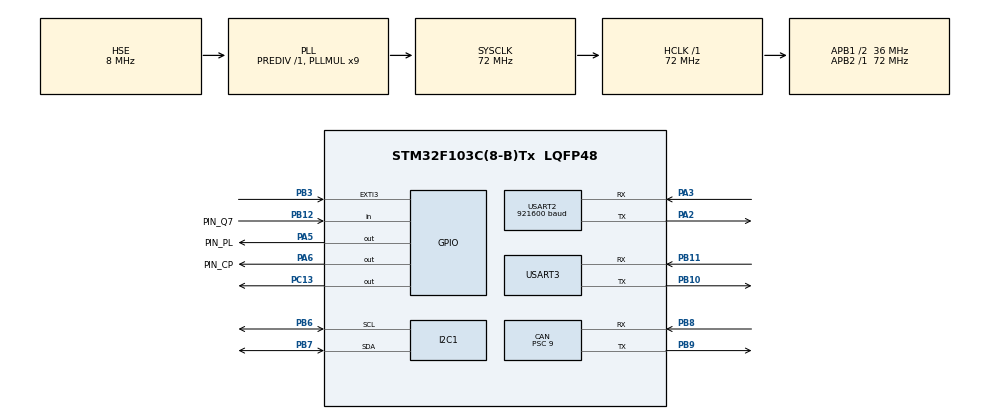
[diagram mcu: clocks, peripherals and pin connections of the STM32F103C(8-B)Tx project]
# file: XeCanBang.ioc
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CAN.ABOM=ENABLE
CAN.AWUM=ENABLE
CAN.BS1=CAN_BS1_2TQ
CAN.CalculateBaudRate=1000000
CAN.CalculateTimeBit=1000
CAN.CalculateTimeQuantum=250.0
CAN.Prescaler=9
FREERTOS.Tasks01=defaultTask,24,128,StartDefaultTask,Default,NULL,Dynamic,NULL,NULL;ReceiveUART,24,128,StartTask02,Default,NULL,Dynamic,NULL,NULL;SendCAN,24,128,StartTask03,Default,NULL,Dynamic,NULL,NULL;ReadMPU6050,24,128,StartTask04,Default,NULL,Dynamic,NULL,NULL
I2C1.I2C_Mode=I2C_Fast
Mcu.Family=STM32F1
Mcu.Name=STM32F103C(8-B)Tx
Mcu.Package=LQFP48
NVIC.PriorityGroup=NVIC_PRIORITYGROUP_4
NVIC.TIM2_IRQn=true\:5\:0\:false\:false\:true\:true\:true\:true\:true
NVIC.USART2_IRQn=true\:5\:0\:false\:false\:true\:true\:true\:true\:true
PA13.Mode=Serial_Wire
PA13.Signal=SYS_JTMS-SWDIO
PA14.Mode=Serial_Wire
PA14.Signal=SYS_JTCK-SWCLK
PA2.Mode=Asynchronous
PA2.Signal=USART2_TX
PA3.GPIO_PuPd=GPIO_PULLUP
PA3.Mode=Asynchronous
PA3.Signal=USART2_RX
PA5.GPIO_Label=PIN_PL
PA5.GPIO_Speed=GPIO_SPEED_FREQ_HIGH
PA5.Signal=GPIO_Output
PA6.GPIO_Label=PIN_CP 
PA6.GPIO_Speed=GPIO_SPEED_FREQ_HIGH
PA6.Signal=GPIO_Output
PB10.Mode=Asynchronous
PB10.Signal=USART3_TX
PB11.Mode=Asynchronous
PB11.Signal=USART3_RX
PB12.GPIO_Label=PIN_Q7
PB12.GPIO_PuPd=GPIO_PULLUP
PB12.Signal=GPIO_Input
PB3.Signal=GPXTI3
PB6.Mode=I2C
PB6.Signal=I2C1_SCL
PB7.Mode=I2C
PB7.Signal=I2C1_SDA
PB8.Mode=CAN_Activate
PB8.Signal=CAN_RX
PB9.Mode=CAN_Activate
PB9.Signal=CAN_TX
PC13-TAMPER-RTC.Signal=GPIO_Output
PD0-OSC_IN.Mode=HSE-External-Oscillator
PD0-OSC_IN.Signal=RCC_OSC_IN
PD1-OSC_OUT.Mode=HSE-External-Oscillator
PD1-OSC_OUT.Signal=RCC_OSC_OUT
ProjectManager.HeapSize=0x200
ProjectManager.StackSize=0x400
ProjectManager.TargetToolchain=MDK-ARM V5.32
RCC.AHBFreq_Value=72000000
RCC.APB1CLKDivider=RCC_HCLK_DIV2
RCC.APB1Freq_Value=36000000
RCC.APB1TimFreq_Value=72000000
RCC.APB2Freq_Value=72000000
RCC.APB2TimFreq_Value=72000000
RCC.HCLKFreq_Value=72000000
RCC.PLLMUL=RCC_PLL_MUL9
RCC.PLLSourceVirtual=RCC_PLLSOURCE_HSE
RCC.SYSCLKFreq_VALUE=72000000
RCC.SYSCLKSource=RCC_SYSCLKSOURCE_PLLCLK
RCC.USBFreq_Value=72000000
TIM2.Period=999
TIM2.Prescaler=7199
USART2.BaudRate=921600
USART2.VirtualMode=VM_ASYNC
USART3.VirtualMode=VM_ASYNC
VP_FREERTOS_VS_CMSIS_V2.Mode=CMSIS_V2
VP_TIM2_VS_ClockSourceINT.Mode=Internal
board=custom

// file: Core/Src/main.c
/* USER CODE BEGIN Header */
/**
 ******************************************************************************
 * @file           : main.c
 * @brief          : Main program body
 ******************************************************************************
 * @attention
 *
 * Copyright (c) 2025 STMicroelectronics.
 * All rights reserved.
 *
 * This software is licensed under terms that can be found in the LICENSE file
 * in the root directory of this software component.
 * If no LICENSE file comes with this software, it is provided AS-IS.
 *
 ******************************************************************************
 */
/* USER CODE END Header */
#include "main.h"
#include "cmsis_os.h"

/* USER CODE BEGIN Includes */
#include "math.h"
#include "string.h"
#include <stdio.h>
#include <stdlib.h>
#include "74165.h"
#include "ssd1306.h"
#include "pid.h"
/* USER CODE END Includes */

CAN_HandleTypeDef hcan;

I2C_HandleTypeDef hi2c1;

TIM_HandleTypeDef htim2;

UART_HandleTypeDef huart2;
UART_HandleTypeDef huart3;

/* Definitions for defaultTask */
osThreadId_t defaultTaskHandle;
const osThreadAttr_t defaultTask_attributes = {
    .name = "defaultTask",
    .stack_size = 128 * 4,
    .priority = (osPriority_t)osPriorityNormal,
};
/* Definitions for ReceiveUART */
osThreadId_t ReceiveUARTHandle;
const osThreadAttr_t ReceiveUART_attributes = {
    .name = "ReceiveUART",
    .stack_size = 128 * 4,
    .priority = (osPriority_t)osPriorityNormal,
};
/* Definitions for SendCAN */
osThreadId_t SendCANHandle;
const osThreadAttr_t SendCAN_attributes = {
    .name = "SendCAN",
    .stack_size = 128 * 4,
    .priority = (osPriority_t)osPriorityNormal,
};
/* Definitions for ReadMPU6050 */
osThreadId_t ReadMPU6050Handle;
const osThreadAttr_t ReadMPU6050_attributes = {
    .name = "ReadMPU6050",
    .stack_size = 128 * 4,
    .priority = (osPriority_t)osPriorityNormal,
};
/* USER CODE BEGIN PV */

//------------------------------------------------------------------------------------------
/* USER CODE END PV */

void SystemClock_Config(void);
static void MX_GPIO_Init(void);
static void MX_USART2_UART_Init(void);
static void MX_CAN_Init(void);
static void MX_TIM2_Init(void);
static void MX_USART3_UART_Init(void);
static void MX_I2C1_Init(void);
void StartDefaultTask(void *argument);
void StartTask02(void *argument);
void StartTask03(void *argument);
void StartTask04(void *argument);

/* USER CODE BEGIN PFP */
void CAN_Send_Extended(int16_t x, int16_t y);
void SendAllPIDViaCAN(void);
void DisplayPIDMenu(uint8_t position);
void DisplayPIDParams(uint8_t pidType, uint8_t position);
void DisplayFlashSaveSuccess(void);
//----------------------------------------------------------
/* USER CODE END PFP */

/* USER CODE BEGIN 0 */
typedef struct
{
  int16_t x;
  int16_t y;
} JoystickData_t;
JoystickData_t joystickData = {0, 0};
osMutexId_t joystickMutexHandle;
#define UART_BUFFER_SIZE 32
#define CAN_SEND_INTERVAL 5 // Gửi mỗi 5ms
#define CAN_RETRY_COUNT 3   // Số lần thử lại nếu gửi thất bại
// Biến nhận tín hiệu UART2
typedef struct
{
  char buffer[64];
  uint8_t idx;
  uint32_t lastReceiveTime;
  uint8_t isNewData;
} UART_Buffer_t;
uint8_t u8_RxData;
// Khai báo là volatile vì được truy cập từ interrupt
volatile UART_Buffer_t uartBuffer = {0};
// CAN
CAN_TxHeaderTypeDef TxHeader = {
    .StdId = 0x446,
    .RTR = CAN_RTR_DATA,
    .IDE = CAN_ID_STD,
    .DLC = 3,
    .TransmitGlobalTime = DISABLE};

uint8_t TxData[3];
uint32_t TxMailbox;

#define UART_TIMEOUT 2000

// Khai bao cac bien cho IC 74165
// Button
uint8_t blackButtonData = 0x3F;
typedef enum
{
  BTN_SELECT = 0,
  BTN_UP = 1,
  BTN_DOWN = 2,
  BTN_SAVE = 3,
  BTN_EXIT = 4,
  BTN_OPENMENU = 5
} TypeButtonBlack;
volatile uint8_t blackButtonStates = 0; // Bien luu trang thai cac nut
#define PID_MODE_SELECT 0               // Mode chọn loại PID
#define PID_MODE_PARAMS 1               // Mode xem thông số PID
#define PID_MODE_EDIT 2                 // Mode chỉnh sửa giá trị
uint8_t pidMode = PID_MODE_SELECT;      // Mode hiện tại
uint8_t paramPosition = 0;              // Vị trí trong menu thông số (0: P, 1: I, 2: D)
PID_t position_pid = {0};
PID_t speed_pid = {0};
PID_t pitch_pid = {0};
PID_t yaw_pid = {0};
/* USER CODE END 0 */

int main(void)
{

  /* MCU Configuration--------------------------------------------------------*/

  /* Reset of all peripherals, Initializes the Flash interface and the Systick. */
  HAL_Init();

  /* Configure the system clock */
  SystemClock_Config();

  /* Initialize all configured peripherals */
  MX_GPIO_Init();
  MX_USART2_UART_Init();
  MX_CAN_Init();
  MX_TIM2_Init();
  MX_USART3_UART_Init();
  MX_I2C1_Init();
  /* USER CODE BEGIN 2 */
  HAL_TIM_Base_Start_IT(&htim2);

  HAL_UART_Receive_IT(&huart2, &u8_RxData, 1);
  //  HAL_UART_Receive_DMA(&huart2, &u8_RxData, 1);

  if (HAL_CAN_Start(&hcan) != HAL_OK)
  {
    Error_Handler();
  }
  if (HAL_CAN_ActivateNotification(&hcan, CAN_IT_RX_FIFO0_MSG_PENDING) != HAL_OK)
  {
    Error_Handler();
  }

  if (Flash_Read_PID(&position_pid, &speed_pid, &pitch_pid, &yaw_pid) != HAL_OK)
  {
    // Nếu chưa có dữ liệu hợp lệ thì dùng giá trị mặc định
    Flash_Load_Default_PID(&position_pid, &speed_pid, &pitch_pid, &yaw_pid);

    // Và ghi giá trị mặc định đó vào Flash
    Flash_Write_PID(&position_pid, &speed_pid, &pitch_pid, &yaw_pid);
    SendAllPIDViaCAN();
  }
  else
  {
    SendAllPIDViaCAN();
  }

  // Khoi tao IC74165 cho nhung nut nhan mau den
  SSD1306_Init();
  /* USER CODE END 2 */

  /* Init scheduler */
  osKernelInitialize();

  /* USER CODE BEGIN RTOS_MUTEX */
  joystickMutexHandle = osMutexNew(NULL);
  if (joystickMutexHandle == NULL)
  {
    Error_Handler();
  }
  /* add mutexes, ... */
  /* USER CODE END RTOS_MUTEX */

  /* Create the thread(s) */
  /* creation of defaultTask */
  defaultTaskHandle = osThreadNew(StartDefaultTask, NULL, &defaultTask_attributes);

  /* creation of ReceiveUART */
  ReceiveUARTHandle = osThreadNew(StartTask02, NULL, &ReceiveUART_attributes);

  /* creation of SendCAN */
  SendCANHandle = osThreadNew(StartTask03, NULL, &SendCAN_attributes);

  /* creation of ReadMPU6050 */
  ReadMPU6050Handle = osThreadNew(StartTask04, NULL, &ReadMPU6050_attributes);

  /* Start scheduler */
  osKernelStart();

  /* We should never get here as control is now taken by the scheduler */

  /* Infinite loop */
  while (1)
  {

    /* USER CODE BEGIN 3 */
    // MPU6050_Read_All(&hi2c1, &MPU6050);
  }
  /* USER CODE END 3 */
}

void SystemClock_Config(void)
{
  RCC_OscInitTypeDef RCC_OscInitStruct = {0};
  RCC_ClkInitTypeDef RCC_ClkInitStruct = {0};

  /** Initializes the RCC Oscillators according to the specified parameters
   * in the RCC_OscInitTypeDef structure.
   */
  RCC_OscInitStruct.OscillatorType = RCC_OSCILLATORTYPE_HSE;
  RCC_OscInitStruct.HSEState = RCC_HSE_ON;
  RCC_OscInitStruct.HSEPredivValue = RCC_HSE_PREDIV_DIV1;
  RCC_OscInitStruct.HSIState = RCC_HSI_ON;
  RCC_OscInitStruct.PLL.PLLState = RCC_PLL_ON;
  RCC_OscInitStruct.PLL.PLLSource = RCC_PLLSOURCE_HSE;
  RCC_OscInitStruct.PLL.PLLMUL = RCC_PLL_MUL9;
  if (HAL_RCC_OscConfig(&RCC_OscInitStruct) != HAL_OK)
  {
    Error_Handler();
  }

  /** Initializes the CPU, AHB and APB buses clocks
   */
  RCC_ClkInitStruct.ClockType = RCC_CLOCKTYPE_HCLK | RCC_CLOCKTYPE_SYSCLK | RCC_CLOCKTYPE_PCLK1 | RCC_CLOCKTYPE_PCLK2;
  RCC_ClkInitStruct.SYSCLKSource = RCC_SYSCLKSOURCE_PLLCLK;
  RCC_ClkInitStruct.AHBCLKDivider = RCC_SYSCLK_DIV1;
  RCC_ClkInitStruct.APB1CLKDivider = RCC_HCLK_DIV2;
  RCC_ClkInitStruct.APB2CLKDivider = RCC_HCLK_DIV1;

  if (HAL_RCC_ClockConfig(&RCC_ClkInitStruct, FLASH_LATENCY_2) != HAL_OK)
  {
    Error_Handler();
  }
}

static void MX_CAN_Init(void)
{

  hcan.Instance = CAN1;
  hcan.Init.Prescaler = 9;
  hcan.Init.Mode = CAN_MODE_NORMAL;
  hcan.Init.SyncJumpWidth = CAN_SJW_1TQ;
  hcan.Init.TimeSeg1 = CAN_BS1_2TQ;
  hcan.Init.TimeSeg2 = CAN_BS2_1TQ;
  hcan.Init.TimeTriggeredMode = DISABLE;
  hcan.Init.AutoBusOff = ENABLE;
  hcan.Init.AutoWakeUp = ENABLE;
  hcan.Init.AutoRetransmission = DISABLE;
  hcan.Init.ReceiveFifoLocked = DISABLE;
  hcan.Init.TransmitFifoPriority = DISABLE;
  if (HAL_CAN_Init(&hcan) != HAL_OK)
  {
    Error_Handler();
  }
  /* USER CODE BEGIN CAN_Init 2 */
  CAN_FilterTypeDef canfilterconfig;
  canfilterconfig.FilterActivation = CAN_FILTER_ENABLE;
  canfilterconfig.FilterBank = 18; // which filter bank to use from the assigned ones
  canfilterconfig.FilterFIFOAssignment = CAN_FILTER_FIFO0;
  canfilterconfig.FilterIdHigh = 0x211 << 5;
  canfilterconfig.FilterIdLow = 0;
  canfilterconfig.FilterMaskIdHigh = 0x211 << 5;
  canfilterconfig.FilterMaskIdLow = 0x0000;
  canfilterconfig.FilterMode = CAN_FILTERMODE_IDMASK;
  canfilterconfig.FilterScale = CAN_FILTERSCALE_32BIT;
  canfilterconfig.SlaveStartFilterBank = 40; // how many filters to assign to the CAN1 (master can)

  HAL_CAN_ConfigFilter(&hcan, &canfilterconfig);

  /* USER CODE END CAN_Init 2 */
}

static void MX_I2C1_Init(void)
{

  hi2c1.Instance = I2C1;
  hi2c1.Init.ClockSpeed = 400000;
  hi2c1.Init.DutyCycle = I2C_DUTYCYCLE_2;
  hi2c1.Init.OwnAddress1 = 0;
  hi2c1.Init.AddressingMode = I2C_ADDRESSINGMODE_7BIT;
  hi2c1.Init.DualAddressMode = I2C_DUALADDRESS_DISABLE;
  hi2c1.Init.OwnAddress2 = 0;
  hi2c1.Init.GeneralCallMode = I2C_GENERALCALL_DISABLE;
  hi2c1.Init.NoStretchMode = I2C_NOSTRETCH_DISABLE;
  if (HAL_I2C_Init(&hi2c1) != HAL_OK)
  {
    Error_Handler();
  }
}

static void MX_TIM2_Init(void)
{

  TIM_ClockConfigTypeDef sClockSourceConfig = {0};
  TIM_MasterConfigTypeDef sMasterConfig = {0};

  htim2.Instance = TIM2;
  htim2.Init.Prescaler = 7199;
  htim2.Init.CounterMode = TIM_COUNTERMODE_UP;
  htim2.Init.Period = 999;
  htim2.Init.ClockDivision = TIM_CLOCKDIVISION_DIV1;
  htim2.Init.AutoReloadPreload = TIM_AUTORELOAD_PRELOAD_DISABLE;
  if (HAL_TIM_Base_Init(&htim2) != HAL_OK)
  {
    Error_Handler();
  }
  sClockSourceConfig.ClockSource = TIM_CLOCKSOURCE_INTERNAL;
  if (HAL_TIM_ConfigClockSource(&htim2, &sClockSourceConfig) != HAL_OK)
  {
    Error_Handler();
  }
  sMasterConfig.MasterOutputTrigger = TIM_TRGO_RESET;
  sMasterConfig.MasterSlaveMode = TIM_MASTERSLAVEMODE_DISABLE;
  if (HAL_TIMEx_MasterConfigSynchronization(&htim2, &sMasterConfig) != HAL_OK)
  {
    Error_Handler();
  }
}

static void MX_USART2_UART_Init(void)
{

  huart2.Instance = USART2;
  huart2.Init.BaudRate = 921600;
  huart2.Init.WordLength = UART_WORDLENGTH_8B;
  huart2.Init.StopBits = UART_STOPBITS_1;
  huart2.Init.Parity = UART_PARITY_NONE;
  huart2.Init.Mode = UART_MODE_TX_RX;
  huart2.Init.HwFlowCtl = UART_HWCONTROL_NONE;
  huart2.Init.OverSampling = UART_OVERSAMPLING_16;
  if (HAL_UART_Init(&huart2) != HAL_OK)
  {
    Error_Handler();
  }
}

static void MX_USART3_UART_Init(void)
{

  huart3.Instance = USART3;
  huart3.Init.BaudRate = 115200;
  huart3.Init.WordLength = UART_WORDLENGTH_8B;
  huart3.Init.StopBits = UART_STOPBITS_1;
  huart3.Init.Parity = UART_PARITY_NONE;
  huart3.Init.Mode = UART_MODE_TX_RX;
  huart3.Init.HwFlowCtl = UART_HWCONTROL_NONE;
  huart3.Init.OverSampling = UART_OVERSAMPLING_16;
  if (HAL_UART_Init(&huart3) != HAL_OK)
  {
    Error_Handler();
  }
}

static void MX_GPIO_Init(void)
{
  GPIO_InitTypeDef GPIO_InitStruct = {0};

  /* GPIO Ports Clock Enable */
  __HAL_RCC_GPIOC_CLK_ENABLE();
  __HAL_RCC_GPIOD_CLK_ENABLE();
  __HAL_RCC_GPIOA_CLK_ENABLE();
  __HAL_RCC_GPIOB_CLK_ENABLE();

  /*Configure GPIO pin Output Level */
  HAL_GPIO_WritePin(GPIOC, GPIO_PIN_13, GPIO_PIN_RESET);

  /*Configure GPIO pin Output Level */
  HAL_GPIO_WritePin(GPIOA, PIN_PL_Pin | PIN_CP_Pin, GPIO_PIN_RESET);

  /*Configure GPIO pin : PC13 */
  GPIO_InitStruct.Pin = GPIO_PIN_13;
  GPIO_InitStruct.Mode = GPIO_MODE_OUTPUT_PP;
  GPIO_InitStruct.Pull = GPIO_NOPULL;
  GPIO_InitStruct.Speed = GPIO_SPEED_FREQ_LOW;
  HAL_GPIO_Init(GPIOC, &GPIO_InitStruct);

  /*Configure GPIO pins : PIN_PL_Pin PIN_CP_Pin */
  GPIO_InitStruct.Pin = PIN_PL_Pin | PIN_CP_Pin;
  GPIO_InitStruct.Mode = GPIO_MODE_OUTPUT_PP;
  GPIO_InitStruct.Pull = GPIO_NOPULL;
  GPIO_InitStruct.Speed = GPIO_SPEED_FREQ_HIGH;
  HAL_GPIO_Init(GPIOA, &GPIO_InitStruct);

  /*Configure GPIO pin : PIN_Q7_Pin */
  GPIO_InitStruct.Pin = PIN_Q7_Pin;
  GPIO_InitStruct.Mode = GPIO_MODE_INPUT;
  GPIO_InitStruct.Pull = GPIO_PULLUP;
  HAL_GPIO_Init(PIN_Q7_GPIO_Port, &GPIO_InitStruct);

  /*Configure GPIO pin : PB3 */
  GPIO_InitStruct.Pin = GPIO_PIN_3;
  GPIO_InitStruct.Mode = GPIO_MODE_IT_RISING;
  GPIO_InitStruct.Pull = GPIO_NOPULL;
  HAL_GPIO_Init(GPIOB, &GPIO_InitStruct);

  /* USER CODE BEGIN MX_GPIO_Init_2 */
  // Kích hoạt ngắt EXTI
  HAL_NVIC_SetPriority(EXTI0_IRQn, 0, 0);
  HAL_NVIC_EnableIRQ(EXTI0_IRQn);
  HAL_NVIC_SetPriority(EXTI1_IRQn, 0, 0);
  HAL_NVIC_EnableIRQ(EXTI1_IRQn);
  HAL_NVIC_SetPriority(EXTI2_IRQn, 0, 0);
  HAL_NVIC_EnableIRQ(EXTI2_IRQn);
  /* USER CODE END MX_GPIO_Init_2 */
}

/* USER CODE BEGIN 4 */
void HAL_UART_RxCpltCallback(UART_HandleTypeDef *huart)
{
  if (huart->Instance == USART2)
  {
    uartBuffer.lastReceiveTime = HAL_GetTick();

    if (u8_RxData == '\n' || u8_RxData == '\r')
    {
      if (uartBuffer.idx > 0)
      {
        uartBuffer.buffer[uartBuffer.idx] = '\0';
        uartBuffer.isNewData = 1;
      }
      uartBuffer.idx = 0;
    }
    else if (uartBuffer.idx < sizeof(uartBuffer.buffer) - 1)
    {
      uartBuffer.buffer[uartBuffer.idx++] = u8_RxData;
    }

    HAL_UART_Receive_IT(&huart2, &u8_RxData, 1);
  }
}

void CAN_Send_Extended(int16_t x, int16_t y)
{
  if (x <= 100 && x >= -100)
  {
    // Gửi giá trị X,Y
    TxHeader.StdId = 0x447;
    TxHeader.DLC = 3;

    // Gửi X
    TxData[0] = x > 0 ? 1 : 0;
    x = abs(x);
    TxData[1] = (x >> 8) & 0xFF;
    TxData[2] = x & 0xFF;

    if (HAL_CAN_AddTxMessage(&hcan, &TxHeader, TxData, &TxMailbox) != HAL_OK)
    {
      HAL_GPIO_TogglePin(GPIOC, GPIO_PIN_13);
      Error_Handler();
    }
  }
  osDelay(1);
  // Gửi giá trị Y
  if (y <= 100 && y >= -100)
  {
    TxHeader.StdId = 0x448;
    TxHeader.DLC = 3;
    TxData[0] = y > 0 ? 1 : 0;
    y = abs(y);
    TxData[1] = (y >> 8) & 0xFF;
    TxData[2] = y & 0xFF;

    if (HAL_CAN_AddTxMessage(&hcan, &TxHeader, TxData, &TxMailbox) != HAL_OK)
    {
      HAL_GPIO_TogglePin(GPIOC, GPIO_PIN_13);
      Error_Handler();
    }
  }
  osDelay(1);
}

void SendAllPIDViaCAN(void)
{
  PID_t *pidList[4] = {&pitch_pid, &speed_pid, &position_pid, &yaw_pid};
  uint16_t baseCanID = 0x500; // bạn có thể tùy chỉnh ID base này

  for (int i = 0; i < 4; i++)
  {
    uint16_t canID = baseCanID + i; // Mỗi PID có 1 ID riêng
    float Kp = pidList[i]->Kp;
    float Ki = pidList[i]->Ki;
    float Kd = pidList[i]->Kd;

    // Gửi từng thông số PID (dạng float 4 byte)
    uint8_t data[8];
    memcpy(&data[0], &Kp, sizeof(float));
    memcpy(&data[4], &Ki, sizeof(float));

    CAN_TxHeaderTypeDef header;
    header.StdId = canID; // Ví dụ: 0x500 (Pitch), 0x501 (Speed), ...
    header.RTR = CAN_RTR_DATA;
    header.IDE = CAN_ID_STD;
    header.DLC = 8; // 2 float: Kp, Ki
    header.TransmitGlobalTime = DISABLE;
    uint32_t mailbox;
    if (HAL_CAN_AddTxMessage(&hcan, &header, data, &mailbox) != HAL_OK)
    {
      HAL_GPIO_TogglePin(GPIOC, GPIO_PIN_13);
      Error_Handler();
    }

    HAL_Delay(2);

    // Gửi tiếp Kd (vì không đủ 3 float trong 8 byte)
    memcpy(&data[0], &Kd, sizeof(float));
    memset(&data[4], 0, 4); // phần sau không cần thiết, để 0

    header.StdId = canID + 0x10; // gửi Kd bằng ID kế tiếp (ví dụ 0x510, 0x511, ...)

    if (HAL_CAN_AddTxMessage(&hcan, &header, data, &mailbox) != HAL_OK)
    {
      HAL_GPIO_TogglePin(GPIOC, GPIO_PIN_13);
      Error_Handler();
    }
    HAL_Delay(2);
  }
}
/* USER CODE END 4 */

void StartDefaultTask(void *argument)
{
  for (;;)
  {
    osDelay(1);
  }
}

void StartTask02(void *argument)
{
  /* USER CODE BEGIN StartTask02 */
  char processBuffer[50]; // Thêm khai báo này
  /* Infinite loop */
  for (;;)
  {
    if (uartBuffer.isNewData)
    {
      // Copy buffer để xử lý
      __disable_irq();
      strcpy(processBuffer, (const char *)uartBuffer.buffer);
      uartBuffer.isNewData = 0;
      __enable_irq();

      // Xử lý dữ liệu
      char *x_str = strstr(processBuffer, "X:");
      char *y_str = strstr(processBuffer, "Y:");
      if (x_str && y_str)
      {
        char *comma = strchr(x_str, ',');
        if (comma && comma < y_str)
        {
          *comma = '\0';
          int16_t x = atoi(x_str + 2);
          int16_t y = atoi(y_str + 2);
          x = x > 100 ? 100 : (x < -100 ? -100 : x);
          y = y > 100 ? 100 : (y < -100 ? -100 : y);
          osMutexAcquire(joystickMutexHandle, osWaitForever);
          joystickData.x = x;
          joystickData.y = y;
          osMutexRelease(joystickMutexHandle);
        }
      }
    }

    // Check timeout
    if (HAL_GetTick() - uartBuffer.lastReceiveTime > UART_TIMEOUT)
    {
      osMutexAcquire(joystickMutexHandle, osWaitForever);
      joystickData.x = 0;
      joystickData.y = 0;
      osMutexRelease(joystickMutexHandle);
    }
    CAN_Send_Extended(joystickData.x, joystickData.y);
    osDelay(1);
  }
  /* USER CODE END StartTask02 */
}

void StartTask03(void *argument)
{
  uint8_t prev_data = 0x3F;
  uint8_t data_full;
  uint8_t stable_count = 0;
  uint8_t current_button;
  uint8_t menuPosition = 0;
  uint8_t menuState = 0;

  SSD1306_Clear();
  SSD1306_GotoXY(40, 0);
  SSD1306_Puts("^_^", &Font_16x26, 1);
  SSD1306_UpdateScreen();

  for (;;)
  {
    data_full = Read_74165();
    current_button = Get6Buttons(data_full);

    if (current_button == blackButtonData)
    {
      stable_count++;
      if (stable_count >= 3 && current_button != prev_data)
      {
        // Nút OPEN MENU
        if (current_button == (~(1 << BTN_OPENMENU) & 0x3F))
        {
          menuState = !menuState;
          menuPosition = 0;
          pidMode = PID_MODE_SELECT;
          paramPosition = 0;

          SSD1306_Clear();
          if (menuState)
          {
            DisplayPIDMenu(menuPosition);
          }
          else
          {
            SSD1306_GotoXY(40, 0);
            SSD1306_Puts("^_^", &Font_16x26, 1);
          }
          SSD1306_UpdateScreen();
        }

        // Các nút khác chỉ xử lý khi menu đang mở
        else if (menuState)
        {
          // Lấy bộ PID tương ứng
          PID_t *currentPID = NULL;
          switch (menuPosition)
          {
          case 0:
            currentPID = &pitch_pid;
            break;
          case 1:
            currentPID = &speed_pid;
            break;
          case 2:
            currentPID = &position_pid;
            break;
          case 3:
            currentPID = &yaw_pid;
            break;
          }

          // Nút SELECT
          if (current_button == (~(1 << BTN_SELECT) & 0x3F))
          {
            if (pidMode == PID_MODE_SELECT)
            {
              pidMode = PID_MODE_PARAMS;
              paramPosition = 0;
              SSD1306_Clear();
              DisplayPIDParams(menuPosition, paramPosition);
              SSD1306_UpdateScreen();
            }
            else if (pidMode == PID_MODE_PARAMS)
            {
              pidMode = PID_MODE_EDIT;
              SSD1306_Clear();
              DisplayPIDParams(menuPosition, paramPosition);
              SSD1306_UpdateScreen();
            }
          }

          // Nút UP
          else if (current_button == (~(1 << BTN_UP) & 0x3F))
          {
            if (pidMode == PID_MODE_SELECT && menuPosition > 0)
            {
              menuPosition--;
              SSD1306_Clear();
              DisplayPIDMenu(menuPosition);
              SSD1306_UpdateScreen();
            }
            else if (pidMode == PID_MODE_PARAMS && paramPosition > 0)
            {
              paramPosition--;
              SSD1306_Clear();
              DisplayPIDParams(menuPosition, paramPosition);
              SSD1306_UpdateScreen();
            }
            else if (pidMode == PID_MODE_EDIT)
            {
              // Tăng giá trị
              if (paramPosition == 0)
                currentPID->Kp += 0.02f;
              else if (paramPosition == 1)
                currentPID->Ki += 0.02f;
              else if (paramPosition == 2)
                currentPID->Kd += 0.02f;

              SSD1306_Clear();
              DisplayPIDParams(menuPosition, paramPosition);
              SSD1306_UpdateScreen();
            }
          }

          // Nút DOWN
          else if (current_button == (~(1 << BTN_DOWN) & 0x3F))
          {

            if (pidMode == PID_MODE_SELECT && menuPosition < 3)
            {
              menuPosition++;
              SSD1306_Clear();
              DisplayPIDMenu(menuPosition);
              SSD1306_UpdateScreen();
            }
            else if (pidMode == PID_MODE_PARAMS && paramPosition < 2)
            {
              paramPosition++;
              SSD1306_Clear();
              DisplayPIDParams(menuPosition, paramPosition);
              SSD1306_UpdateScreen();
            }
            else if (pidMode == PID_MODE_EDIT)
            {
              // Giảm giá trị (không dưới 0.00)
              if (paramPosition == 0 && currentPID->Kp > 0.00f)
                currentPID->Kp -= 0.01f;
              else if (paramPosition == 1 && currentPID->Ki > 0.00f)
                currentPID->Ki -= 0.01f;
              else if (paramPosition == 2 && currentPID->Kd > 0.00f)
                currentPID->Kd -= 0.01f;

              SSD1306_Clear();
              DisplayPIDParams(menuPosition, paramPosition);
              SSD1306_UpdateScreen();
            }
          }
          // Nút EXIT
          else if (current_button == (~(1 << BTN_EXIT) & 0x3F))
          {
            if (pidMode == PID_MODE_PARAMS)
            {
              pidMode = PID_MODE_SELECT;
              SSD1306_Clear();
              DisplayPIDMenu(menuPosition);
              SSD1306_UpdateScreen();
            }
            else if (pidMode == PID_MODE_EDIT)
            {
              pidMode = PID_MODE_PARAMS;
              SSD1306_Clear();
              DisplayPIDParams(menuPosition, paramPosition);
              SSD1306_UpdateScreen();
            }
          }

          // Nút SAVE
          else if (current_button == (~(1 << BTN_SAVE) & 0x3F))
          {
            if (Flash_Write_PID(&position_pid, &speed_pid, &pitch_pid, &yaw_pid) == HAL_OK)
            {
              SendAllPIDViaCAN();
              DisplayFlashSaveSuccess();
            }
            else
            {
              SSD1306_Clear();
              SSD1306_GotoXY(0, 20);
              SSD1306_Puts("SAVE FAILED!", &Font_7x10, 1);
              SSD1306_UpdateScreen();
              osDelay(1000);
            }

            if (pidMode == PID_MODE_EDIT || pidMode == PID_MODE_PARAMS)
            {
              SSD1306_Clear();
              DisplayPIDParams(menuPosition, paramPosition);
              SSD1306_UpdateScreen();
            }
            else
            {
              SSD1306_Clear();
              DisplayPIDMenu(menuPosition);
              SSD1306_UpdateScreen();
            }
          }
        }

        prev_data = current_button;
      }
    }
    else
    {
      stable_count = 0;
      blackButtonData = current_button;
    }

    osDelay(20);
  }
}

// Hiển thị menu PID
void DisplayPIDMenu(uint8_t position)
{
  SSD1306_Clear();

  // Hiển thị các mục menu - sử dụng mảng char thay vì const char
  char menu_items[4][15] = {
      "PID_Pitch",
      "PID_Speed",
      "PID_Position",
      "PID_Yaw"};

  for (uint8_t i = 0; i < 4; i++)
  {
    SSD1306_GotoXY(0, i * 12);
    if (i == position)
    {
      SSD1306_Puts("->", &Font_7x10, 1);
      SSD1306_GotoXY(15, i * 12);
    }
    else
    {
      SSD1306_GotoXY(15, i * 12);
    }
    SSD1306_Puts(menu_items[i], &Font_7x10, 1);
  }
}

void DisplayPIDParams(uint8_t pidType, uint8_t position)
{
  char str[50];
  PID_t *currentPID = NULL;

  // Không đọc flash nữa!
  switch (pidType)
  {
  case 0:
    currentPID = &pitch_pid;
    break;
  case 1:
    currentPID = &speed_pid;
    break;
  case 2:
    currentPID = &position_pid;
    break;
  case 3:
    currentPID = &yaw_pid;
    break;
  default:
    currentPID = &pitch_pid;
    break;
  }

  SSD1306_GotoXY(0, 0);
  switch (pidType)
  {
  case 0:
    SSD1306_Puts("PID PITCH", &Font_7x10, 1);
    break;
  case 1:
    SSD1306_Puts("PID SPEED", &Font_7x10, 1);
    break;
  case 2:
    SSD1306_Puts("PID POSITION", &Font_7x10, 1);
    break;
  case 3:
    SSD1306_Puts("PID YAW", &Font_7x10, 1);
    break;
  }

  // Kp
  SSD1306_GotoXY(0, 12);
  if (position == 0)
    SSD1306_Puts("->", &Font_7x10, 1);
  SSD1306_GotoXY(15, 12);
  sprintf(str, "Kp = %.2f", currentPID->Kp);
  SSD1306_Puts(str, &Font_7x10, 1);

  // Ki
  SSD1306_GotoXY(0, 24);
  if (position == 1)
    SSD1306_Puts("->", &Font_7x10, 1);
  SSD1306_GotoXY(15, 24);
  sprintf(str, "Ki = %.2f", currentPID->Ki);
  SSD1306_Puts(str, &Font_7x10, 1);

  // Kd
  SSD1306_GotoXY(0, 36);
  if (position == 2)
    SSD1306_Puts("->", &Font_7x10, 1);
  SSD1306_GotoXY(15, 36);
  sprintf(str, "Kd = %.2f", currentPID->Kd);
  SSD1306_Puts(str, &Font_7x10, 1);
}

void DisplayFlashSaveSuccess(void)
{
  SSD1306_Clear();
  SSD1306_GotoXY(20, 16);
  SSD1306_Puts("PID SAVED!", &Font_11x18, 1);
  SSD1306_UpdateScreen();
  osDelay(1000);
}

void StartTask04(void *argument)
{
  for (;;)
  {
    osDelay(1);
  }
}

void Error_Handler(void)
{
  __disable_irq();
  while (1)
  {
  }
}
